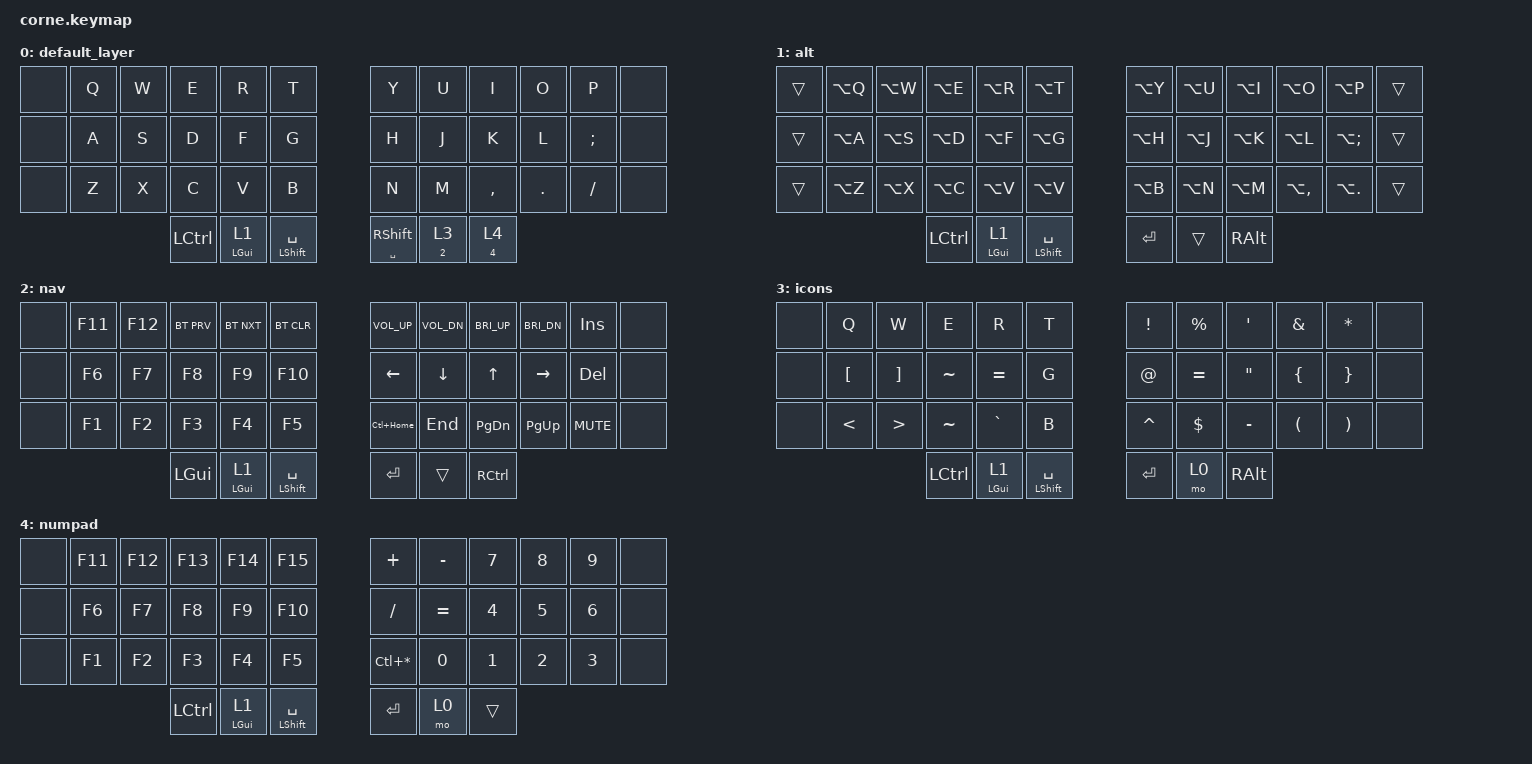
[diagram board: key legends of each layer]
/*
 * Copyright (c) 2020 The ZMK Contributors
 *
 * SPDX-License-Identifier: MIT
 */

#include <behaviors.dtsi>
#include <dt-bindings/zmk/bt.h>
#include <dt-bindings/zmk/keys.h>

/ {
    behaviors {
        kp_sl: kp_sl {
            compatible = "zmk,behavior-hold-tap";
            label = "KP_SL";
            bindings = <&kp>, <&sl>;

            #binding-cells = <2>;
            tapping-term-ms = <200>;
        };

        lt_sl: lt_sl {
            compatible = "zmk,behavior-hold-tap";
            label = "LT_SL";
            bindings = <&lt>, <&sl>;

            #binding-cells = <2>;
            tapping-term-ms = <200>;
        };
    };

    combos {
        compatible = "zmk,combos";

        Ctrl-Gui {
            bindings = <&sk LC(LEFT_GUI)>;
            key-positions = <37 36>;
        };

        Ctrl-Shift {
            bindings = <&sk LS(LCTRL)>;
            key-positions = <36 38>;
        };

        Gui-Shift {
            bindings = <&sk LS(LEFT_GUI)>;
            key-positions = <37 38>;
        };

        Bcsp {
            bindings = <&kp BACKSPACE>;
            key-positions = <19 20>;
        };

        Enter {
            bindings = <&kp ENTER>;
            key-positions = <20 21>;
        };

        Del {
            bindings = <&kp DELETE>;
            key-positions = <21 22>;
        };

        Tab {
            bindings = <&kp TAB>;
            key-positions = <15 16>;
        };

        Esc {
            bindings = <&kp ESC>;
            key-positions = <15 14>;
        };

        Tilde {
            bindings = <&kp RA(SQT)>;
            key-positions = <7 8>;
        };
    };

    keymap {
        compatible = "zmk,keymap";

        default_layer {
            // -----------------------------------------------------------------------------------------
            // |  TAB |  Q  |  W  |  E  |  R  |  T  |   |  Y  |  U   |  I  |  O  |  P  | BKSP |
            // | CTRL |  A  |  S  |  D  |  F  |  G  |   |  H  |  J   |  K  |  L  |  ;  |  '   |
            // | SHFT |  Z  |  X  |  C  |  V  |  B  |   |  N  |  M   |  ,  |  .  |  /  | ESC  |
            //                    | GUI | LWR | SPC |   | ENT | RSE  | ALT |

            bindings = <
&none  &kp Q  &kp W  &kp E             &kp R              &kp T                   &kp Y             &kp U       &kp I       &kp O    &kp P     &none
&none  &kp A  &kp S  &kp D             &kp F              &kp G                   &kp H             &kp J       &kp K       &kp L    &kp SEMI  &none
&none  &kp Z  &kp X  &kp C             &kp V              &kp B                   &kp N             &kp M       &kp COMMA   &kp DOT  &kp FSLH  &none
                     &kp LEFT_CONTROL  &kp_sl LEFT_GUI 1  &mt LEFT_SHIFT SPACE    &mt SPACE RSHIFT  &lt_sl 2 3  &lt_sl 4 4
            >;
        };

        alt {
            bindings = <
&trans  &kp LA(Q)  &kp LA(W)  &kp LA(E)         &kp LA(R)          &kp LA(T)               &kp LA(Y)  &kp LA(U)  &kp LA(I)  &kp LA(O)      &kp LA(P)          &trans
&trans  &kp LA(A)  &kp LA(S)  &kp LA(D)         &kp LA(F)          &kp LA(G)               &kp LA(H)  &kp LA(J)  &kp LA(K)  &kp LA(L)      &kp LA(SEMICOLON)  &trans
&trans  &kp LA(Z)  &kp LA(X)  &kp LA(C)         &kp LA(V)          &kp LA(V)               &kp LA(B)  &kp LA(N)  &kp LA(M)  &kp LA(COMMA)  &kp LA(DOT)        &trans
                              &kp LEFT_CONTROL  &kp_sl LEFT_GUI 1  &mt LEFT_SHIFT SPACE    &kp RET    &trans     &kp RALT
            >;
        };

        nav {
            bindings = <
&none  &kp F11  &kp F12  &bt BT_PRV  &bt BT_NXT         &bt BT_CLR              &kp C_VOLUME_UP  &kp C_VOL_DN  &kp C_BRI_UP       &kp C_BRI_DN     &kp INS     &none
&none  &kp F6   &kp F7   &kp F8      &kp F9             &kp F10                 &kp LEFT_ARROW   &kp DOWN      &kp UP_ARROW       &kp RIGHT_ARROW  &kp DELETE  &none
&none  &kp F1   &kp F2   &kp F3      &kp F4             &kp F5                  &kp LC(HOME)     &kp END       &kp PG_DN          &kp PG_UP        &kp K_MUTE  &none
                         &kp LGUI    &kp_sl LEFT_GUI 1  &mt LEFT_SHIFT SPACE    &kp RET          &trans        &kp RIGHT_CONTROL
            >;
        };

        icons {
            bindings = <
&none  &kp Q             &kp W              &kp E             &kp R              &kp T                   &kp EXCL     &kp PERCENT  &kp SINGLE_QUOTE   &kp AMPERSAND         &kp ASTERISK     &none
&none  &kp LEFT_BRACKET  &kp RIGHT_BRACKET  &kp TILDE         &kp EQUAL          &kp G                   &kp AT_SIGN  &kp EQUAL    &kp DOUBLE_QUOTES  &kp LEFT_BRACE        &kp RIGHT_BRACE  &none
&none  &kp LESS_THAN     &kp GREATER_THAN   &kp TILDE         &kp GRAVE          &kp B                   &kp CARET    &kp DOLLAR   &kp MINUS          &kp LEFT_PARENTHESIS  &kp RPAR         &none
                                            &kp LEFT_CONTROL  &kp_sl LEFT_GUI 1  &mt LEFT_SHIFT SPACE    &kp RET      &mo 0        &kp RALT
            >;
        };

        numpad {
            bindings = <
&none  &kp F11  &kp F12  &kp F13           &kp F14            &kp F15                 &kp PLUS          &kp MINUS  &kp N7  &kp N8  &kp N9  &none
&none  &kp F6   &kp F7   &kp F8            &kp F9             &kp F10                 &kp SLASH         &kp EQUAL  &kp N4  &kp N5  &kp N6  &none
&none  &kp F1   &kp F2   &kp F3            &kp F4             &kp F5                  &kp LC(ASTERISK)  &kp N0     &kp N1  &kp N2  &kp N3  &none
                         &kp LEFT_CONTROL  &kp_sl LEFT_GUI 1  &mt LEFT_SHIFT SPACE    &kp RET           &mo 0      &trans
            >;
        };
    };
};
